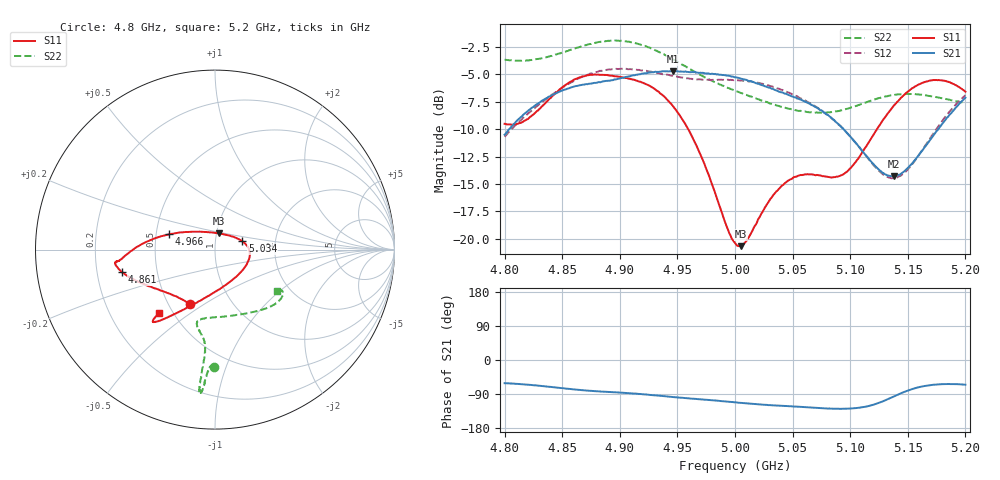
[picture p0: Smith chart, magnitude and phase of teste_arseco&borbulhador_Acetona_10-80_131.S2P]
! Network Analyzer HP8722D
! Hewlett-Packard
! Data name: Linha & Wilkinson
! Saver's name: Rodrigo Anjos
! Comments: Teste da utilização de aquisição
! continua pelo VNA HP8722D
! Time and date: 17/4/2025 15:27
!  Frequency  S11  S21  S12  S22
# HZ  S  MA R 50
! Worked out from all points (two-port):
!   401 points, 4.8 GHz to 5.2 GHz, reference 50 ohm
!   highest |S21| = -4.70 dB at 4.946 GHz (marker M1); lowest = -14.3 dB at 5.138 GHz (marker M2)
!   |S21| within 3 dB of the highest: 4.828 GHz to 5.065 GHz (236.8 MHz wide, 4.79 % of centre); 5.194534 GHz to end of sweep
!   lowest |S11| = -20.7 dB at 5.005 GHz (marker M3), VSWR 1.20, Z = 51.1 + j9.32 ohm
!   |S11| at or under -10 dB: 4.959 GHz to 5.123 GHz (163.8 MHz wide, 3.25 % of centre)
!   |S22| runs from -8.5 to -1.9 dB; largest |S21 - S12| = 0.87
!   S11 on the Smith chart (normalised r, x): 4.8 GHz: 0.64, -0.44; 4.861 GHz: 0.31, -0.11; 4.966 GHz: 0.58, +0.11; 5.034 GHz: 1.35, +0.13; 5.2 GHz: 0.42, -0.38
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4.8e9  0.3347 -114.6  0.2982 -61.2  0.2918 -175.5  0.6561 -90.5
4.819e9  0.3498 -134.6  0.3782 -64.9  0.3672 -174.4  0.6513 -92.1
4.861e9  0.5346 -166.5  0.4953 -77.8  0.5284 -177.8  0.7382 -94.5
4.867e9  0.5493 -168.9  0.5035 -79.6  0.547 -178.8  0.7571 -94.5
4.899e9  0.549 -173.2  0.5376 -85.8  0.5953 174.7  0.8011 -96.0
4.934e9  0.4676 -179.1  0.5774 -94.3  0.5695 171.1  0.7112 -96.3
4.946e9  0.4039 175.3  0.5822 -97.5  0.5548 171.4  0.6596 -95.9
4.966e9  0.2701 161.7  0.5745 -102.7  0.5341 173.2  0.5736 -95.4
4.993e9  0.1128 119.4  0.5555 -109.7  0.5316 175.3  0.4906 -98.2
5e9  0.09563 96.5  0.5453 -111.8  0.5315 175.4  0.4736 -99.6
5.005e9  0.09242 77.8  0.5377 -113.1  0.5268 175.5  0.4622 -100.6
5.034e9  0.1598 16.8  0.4793 -119.9  0.4931 174.1  0.4098 -103.7
5.05e9  0.189 1.0  0.4457 -122.4  0.4555 173.4  0.3902 -99.2
5.067e9  0.1963 -17.3  0.4069 -125.5  0.4105 173.1  0.3772 -89.8
5.096e9  0.2002 -67.9  0.3088 -128.7  0.3092 174.4  0.3902 -67.3
5.123e9  0.3154 -109.4  0.2109 -115.2  0.2093 -169.7  0.4353 -48.4
5.134e9  0.3812 -118.2  0.1936 -101.7  0.1898 -154.8  0.4494 -43.0
5.138e9  0.4056 -120.4  0.1925 -96.1  0.1891 -148.5  0.4525 -41.3
5.15e9  0.4688 -125.6  0.2099 -80.8  0.2071 -130.5  0.4579 -37.0
5.17e9  0.5276 -130.1  0.2851 -66.2  0.2904 -112.2  0.4476 -32.4
5.184e9  0.5224 -131.2  0.3569 -63.5  0.3677 -107.8  0.4332 -31.5
5.2e9  0.4688 -131.5  0.4402 -65.2  0.452 -107.3  0.4159 -33.9
